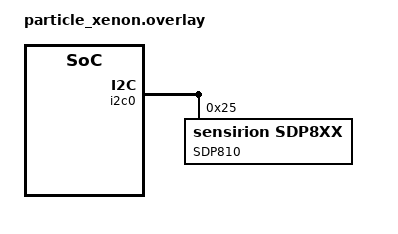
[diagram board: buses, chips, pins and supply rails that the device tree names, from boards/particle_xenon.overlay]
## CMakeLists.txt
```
#
# Copyright (c) 2019 Peter Bigot Consulting, LLC
#
# SPDX-License-Identifier: Apache-2.0
#

cmake_minimum_required(VERSION 3.8.2)
find_package(Zephyr HINTS $ENV{ZEPHYR_BASE})
project(sdp8xx)

FILE(GLOB app_sources src/*.c)
target_sources(app PRIVATE ${app_sources})
```

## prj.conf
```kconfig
#
# Copyright (c) 2018 Peter Bigot Consulting, LLC
#
# SPDX-License-Identifier: Apache-2.0
#

CONFIG_STDOUT_CONSOLE=y
CONFIG_POLL=y
CONFIG_I2C=y
CONFIG_SENSPLE=y
CONFIG_SENSPLE_SDP8XX=y
CONFIG_LOG=y
CONFIG_SENSPLE_LOG_LEVEL_INF=y
```

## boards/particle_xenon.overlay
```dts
/*
 * Copyright (c) 2018 Peter Bigot Consulting, LLC
 *
 * SPDX-License-Identifier: Apache-2.0
 */

&i2c0 {
	sdp810: sdp810@25 {
		compatible = "sensirion,sdp8xx";
		reg = <0x25>;
		label = "SDP810";
	};
};
```

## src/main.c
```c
/*
 * Copyright (c) 2018 Peter Bigot Consulting, LLC
 *
 * SPDX-License-Identifier: Apache-2.0
 */

#include <zephyr.h>
#include "drivers/sensple/sdp8xx.h"
#include <stdio.h>

void main(void)
{
	static const char *binding_name = DT_LABEL(DT_NODELABEL(sdp810));
	int rc = 0;

	struct device *dev = device_get_binding(binding_name);
	if (!dev) {
		printf("Could not get %s device\n", binding_name);
		return;
	}
	struct k_poll_signal *sdp8xx_sig = sensple_access(dev);
	if (!sdp8xx_sig) {
		printf("SDP8XX not available\n");
		return;
	}

	while (true) {
		struct k_poll_event evt =
			K_POLL_EVENT_INITIALIZER(K_POLL_TYPE_SIGNAL,
						 K_POLL_MODE_NOTIFY_ONLY,
						 sdp8xx_sig);
		rc = k_poll(&evt, 1, K_MSEC(1000));
		if (K_POLL_STATE_SIGNALED == evt.state) {
			k_poll_signal_reset(sdp8xx_sig);
			rc = sensple_work(dev);
			if ((0 < rc)
			    && (SENSPLE_STATE_OBSERVATION_READY & rc)) {
				struct sdp8xx_observation obs;
				rc = sdp8xx_fetch(dev, &obs);
				if (0 <= rc) {
					printf("%d cPa ; %d cCel\n",
					       obs.diffpres_cPa,
					       obs.temperature_cCel);
				} else {
					printf("OBS failed: %d\n", rc);
				}
			}
		} else {
			rc = sdp8xx_sample(dev);
			if (0 != rc) {
				printf("SAMPLE failed: %d\n", rc);
			}
		}
	}

	printf("exit %d\n", rc);
}
```
